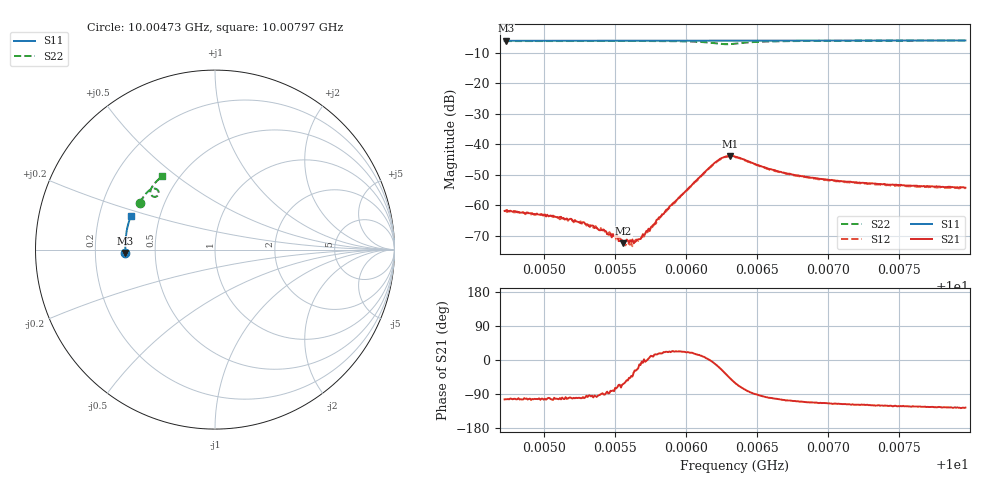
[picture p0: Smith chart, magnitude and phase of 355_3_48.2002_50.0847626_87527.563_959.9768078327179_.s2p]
#  HZ  S  RI  R  50.00
! Rohde & Schwarz Vector Network Analyzer
! Rohde-Schwarz,ZNB20-2Port,1311601062101988,3.16
! Created: UTC 3/20/2024, 11:51:58 AM
! freq[Hz]  re:S11  im:S11  re:S21  im:S21  re:S12  im:S12  re:S22  im:S22
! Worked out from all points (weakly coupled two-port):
!   401 points, 10.00473 GHz to 10.00797 GHz, reference 50 ohm
!   highest |S21| = -43.80 dB at 10.00631 GHz (marker M1); lowest = -72.5 dB at 10.00556 GHz (marker M2)
!   lowest |S11| = -6.0 dB at 10.00473 GHz (marker M3), VSWR 2.99, Z = 16.7 - j0.864 ohm
!   |S11| at or under -10 dB: nowhere
!   |S22| runs from -7.2 to -6.0 dB; largest |S21 - S12| = 0.00039
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1.0004726e10  -0.4987 -0.0199  -0.000193 -0.000783  -0.000149 -0.000795  -0.4186 0.2614
1.0004734e10  -0.4987 -0.0194  -0.000193 -0.000792  -0.000138 -0.000804  -0.4184 0.2618
1.0005058e10  -0.4996 0.00167  -0.000163 -0.000644  -9.18e-05 -0.000653  -0.407 0.2811
1.0005269e10  -0.4997 0.0152  -9.66e-05 -0.00051  -4.55e-05 -0.000497  -0.3988 0.2937
1.0005406e10  -0.4999 0.0244  5.5e-06 -0.000394  7.75e-06 -0.000403  -0.3928 0.3017
1.0005463e10  -0.4998 0.0279  1.69e-05 -0.000329  4.42e-05 -0.000361  -0.3903 0.3054
1.0005504e10  -0.4997 0.0304  8.67e-05 -0.000295  9.14e-05 -0.0003  -0.3882 0.3077
1.0005544e10  -0.4997 0.0332  8.15e-05 -0.00026  0.000115 -0.000248  -0.3862 0.3103
1.000556e10  -0.4996 0.0341  0.000108 -0.000212  0.000108 -0.000201  -0.3856 0.3112
1.0005617e10  -0.4994 0.0378  0.000187 -0.000168  0.000181 -0.00015  -0.3826 0.3146
1.0005666e10  -0.4993 0.041  0.000257 -0.000102  0.000255 -5.12e-05  -0.3799 0.3176
1.000573e10  -0.4991 0.0453  0.000382 2.25e-06  0.000362 3.72e-05  -0.376 0.3219
1.0005811e10  -0.4988 0.0504  0.000606 0.000192  0.000548 0.000232  -0.3705 0.3269
1.0005892e10  -0.4983 0.0557  0.000925 0.000351  0.00088 0.000399  -0.3641 0.332
1.0006192e10  -0.4959 0.0749  0.00468 -0.000512  0.00463 -0.000278  -0.3179 0.3299
1.0006257e10  -0.4954 0.079  0.00533 -0.00279  0.00533 -0.00246  -0.3142 0.31
1.0006314e10  -0.495 0.0825  0.00422 -0.00489  0.00438 -0.00458  -0.3269 0.2957
1.0006346e10  -0.4948 0.0843  0.00311 -0.0055  0.00334 -0.00522  -0.3373 0.2939
1.0006613e10  -0.4925 0.1013  -0.000749 -0.00375  -0.000564 -0.0037  -0.3586 0.3319
1.0006889e10  -0.4892 0.1189  -0.00106 -0.00263  -0.000944 -0.00261  -0.3468 0.3557
1.0007431e10  -0.4808 0.1529  -0.00112 -0.00187  -0.00101 -0.00189  -0.3198 0.3861
1.0007966e10  -0.4703 0.1856  -0.00113 -0.00158  -0.00105 -0.00159  -0.2926 0.4103
